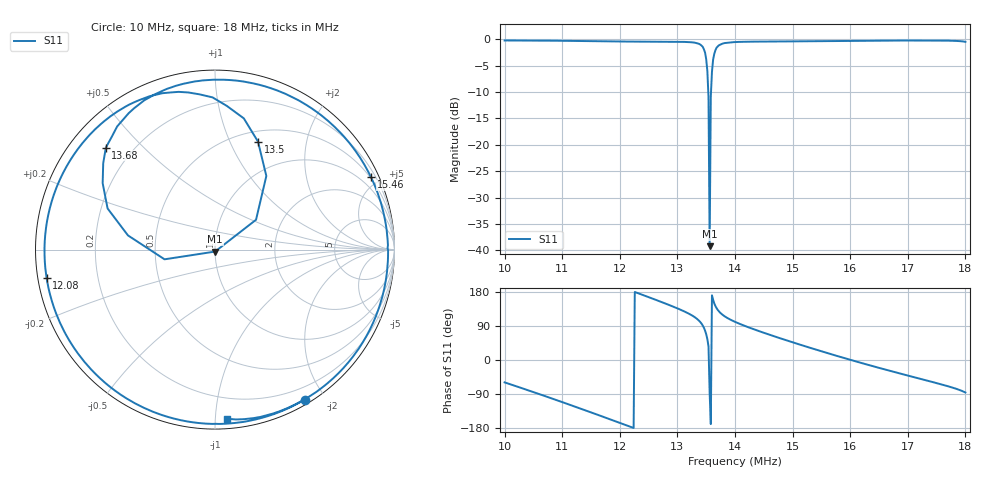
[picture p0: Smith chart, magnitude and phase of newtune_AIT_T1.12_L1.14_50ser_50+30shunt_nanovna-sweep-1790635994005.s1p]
! NanoVNA Web complex sweep
! Processing: original sample grid, no browser smoothing
# Hz S RI R 50
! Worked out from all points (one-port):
!   401 points, 10 MHz to 18 MHz, reference 50 ohm
!   lowest |S11| = -39.2 dB at 13.56 MHz (marker M1), VSWR 1.02, Z = 50 - j1.09 ohm
!   |S11| at or under -10 dB: 13.53606 MHz to 13.58368 MHz (47.62 kHz wide, 0.351 % of centre)
!   S11 on the Smith chart (normalised r, x): 10 MHz: 0.05, -1.76; 12.08 MHz: 0.02, -0.08; 13.5 MHz: 0.62, +1.28; 13.68 MHz: 0.11, +0.39; 15.46 MHz: 0.45, +4.49; 18 MHz: 0.06, -1.07
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1e7  0.5002 -0.8355
1.052e7  0.0728 -0.9692
1.1e7  -0.348 -0.9025
1.154e7  -0.739 -0.6108
1.2e7  -0.9237 -0.2316
1.208e7  -0.9382 -0.1587
1.254e7  -0.9102 0.2675
1.3e7  -0.6835 0.6544
1.324e7  -0.4514 0.8203
1.338e7  -0.2028 0.8788
1.346e7  0.0666 0.8001
1.35e7  0.2396 0.6015
1.352e7  0.2861 0.4102
1.356e7  0.000504 -0.0109
1.36e7  -0.485 0.0791
1.362e7  -0.5983 0.229
1.364e7  -0.6259 0.37
1.368e7  -0.608 0.5683
1.38e7  -0.4208 0.8109
1.4e7  -0.1745 0.9242
1.446e7  0.2635 0.9137
1.5e7  0.6549 0.6949
1.546e7  0.8693 0.4034
1.6e7  0.9615 0.00815
1.648e7  0.9116 -0.3303
1.7e7  0.7339 -0.6391
1.76e7  0.4091 -0.8806
1.8e7  0.0693 -0.9429
